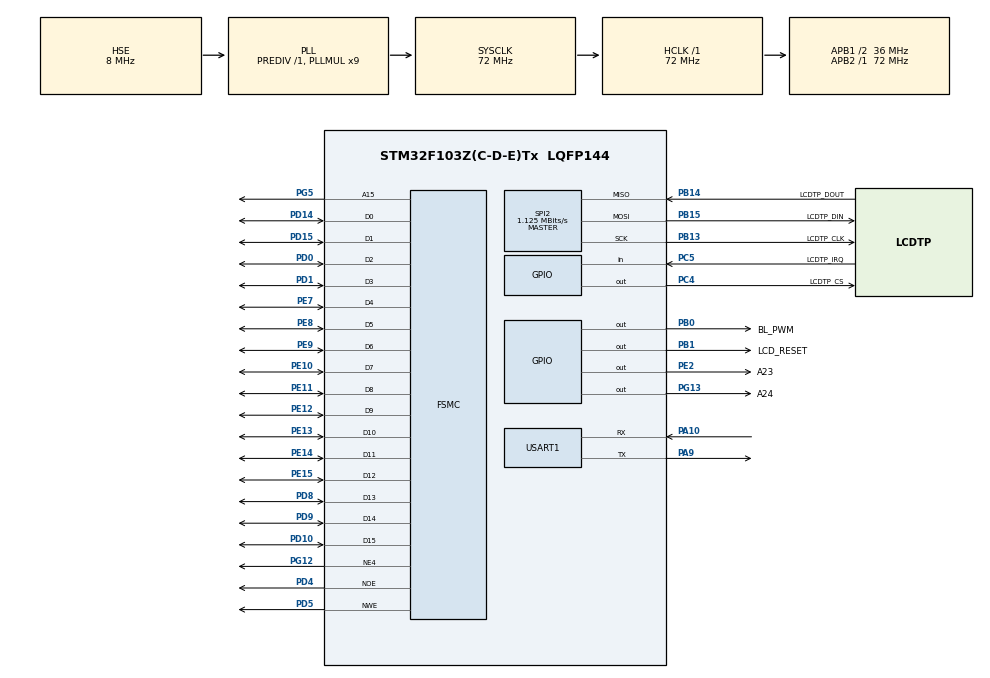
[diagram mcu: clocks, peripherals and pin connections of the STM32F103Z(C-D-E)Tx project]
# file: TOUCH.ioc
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FSMC.AddressSetupTime1=0x02
FSMC.BusTurnAroundDuration1=0x00
FSMC.DataSetupTime1=0x05
Mcu.Family=STM32F1
Mcu.Name=STM32F103Z(C-D-E)Tx
Mcu.Package=LQFP144
NVIC.PriorityGroup=NVIC_PRIORITYGROUP_4
NVIC.SPI2_IRQn=true\:0\:0\:false\:false\:true
OSC_IN.Mode=HSE-External-Oscillator
OSC_IN.Signal=RCC_OSC_IN
OSC_OUT.Mode=HSE-External-Oscillator
OSC_OUT.Signal=RCC_OSC_OUT
PA10.Mode=Asynchronous
PA10.Signal=USART1_RX
PA9.Mode=Asynchronous
PA9.Signal=USART1_TX
PB0.GPIO_Label=BL_PWM
PB0.Signal=GPIO_Output
PB1.GPIO_Label=LCD_RESET
PB1.Signal=GPIO_Output
PB13.GPIO_Label=LCDTP_CLK
PB13.Mode=Full_Duplex_Master
PB13.Signal=SPI2_SCK
PB14.GPIO_Label=LCDTP_DOUT
PB14.Mode=Full_Duplex_Master
PB14.Signal=SPI2_MISO
PB15.GPIO_Label=LCDTP_DIN
PB15.Mode=Full_Duplex_Master
PB15.Signal=SPI2_MOSI
PC4.GPIO_Label=LCDTP_CS
PC4.Signal=GPIO_Output
PC5.GPIO_Label=LCDTP_IRQ
PC5.Signal=GPIO_Input
PD0.Signal=FSMC_D2_DA2
PD1.Signal=FSMC_D3_DA3
PD10.Signal=FSMC_D15_DA15
PD14.Signal=FSMC_D0_DA0
PD15.Signal=FSMC_D1_DA1
PD4.Signal=FSMC_NOE
PD5.Signal=FSMC_NWE
PD8.Signal=FSMC_D13_DA13
PD9.Signal=FSMC_D14_DA14
PE10.Signal=FSMC_D7_DA7
PE11.Signal=FSMC_D8_DA8
PE12.Signal=FSMC_D9_DA9
PE13.Signal=FSMC_D10_DA10
PE14.Signal=FSMC_D11_DA11
PE15.Signal=FSMC_D12_DA12
PE2.GPIO_Label=A23
PE2.PinState=GPIO_PIN_SET
PE2.Signal=GPIO_Output
PE7.Signal=FSMC_D4_DA4
PE8.Signal=FSMC_D5_DA5
PE9.Signal=FSMC_D6_DA6
PG12.Mode=NorPsramChipSelect4_1
PG12.Signal=FSMC_NE4
PG13.GPIO_Label=A24
PG13.PinState=GPIO_PIN_SET
PG13.Signal=GPIO_Output
PG5.Signal=FSMC_A15
ProjectManager.HeapSize=0x200
ProjectManager.StackSize=0x400
ProjectManager.TargetToolchain=MDK-ARM V5
RCC.AHBFreq_Value=72000000
RCC.APB1CLKDivider=RCC_HCLK_DIV2
RCC.APB1Freq_Value=36000000
RCC.APB1TimFreq_Value=72000000
RCC.APB2Freq_Value=72000000
RCC.APB2TimFreq_Value=72000000
RCC.HCLKFreq_Value=72000000
RCC.HSIState=RCC_HSI_ON
RCC.PLLMUL=RCC_PLL_MUL9
RCC.PLLSourceVirtual=RCC_PLLSOURCE_HSE
RCC.SYSCLKFreq_VALUE=72000000
RCC.SYSCLKSource=RCC_SYSCLKSOURCE_PLLCLK
RCC.USBFreq_Value=72000000
SH.FSMC_A15.0=FSMC_A15,A15_1
SH.FSMC_D0_DA0.0=FSMC_D0,16b-d1
SH.FSMC_D10_DA10.0=FSMC_D10,16b-d1
SH.FSMC_D11_DA11.0=FSMC_D11,16b-d1
SH.FSMC_D12_DA12.0=FSMC_D12,16b-d1
SH.FSMC_D13_DA13.0=FSMC_D13,16b-d1
SH.FSMC_D14_DA14.0=FSMC_D14,16b-d1
SH.FSMC_D15_DA15.0=FSMC_D15,16b-d1
SH.FSMC_D1_DA1.0=FSMC_D1,16b-d1
SH.FSMC_D2_DA2.0=FSMC_D2,16b-d1
SH.FSMC_D3_DA3.0=FSMC_D3,16b-d1
SH.FSMC_D4_DA4.0=FSMC_D4,16b-d1
SH.FSMC_D5_DA5.0=FSMC_D5,16b-d1
SH.FSMC_D6_DA6.0=FSMC_D6,16b-d1
SH.FSMC_D7_DA7.0=FSMC_D7,16b-d1
SH.FSMC_D8_DA8.0=FSMC_D8,16b-d1
SH.FSMC_D9_DA9.0=FSMC_D9,16b-d1
SH.FSMC_NOE.0=FSMC_NOE,Lcd1
SH.FSMC_NWE.0=FSMC_NWE,Lcd1
SPI2.BaudRatePrescaler=SPI_BAUDRATEPRESCALER_32
SPI2.CalculateBaudRate=1.125 MBits/s
SPI2.Mode=SPI_MODE_MASTER
VP_SYS_VS_ND.Mode=No_Debug
board=TOUCH

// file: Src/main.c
/**
  ******************************************************************************
  * File Name          : main.c
  * Description        : Main program body
  ******************************************************************************
  *
  * COPYRIGHT(c) 2016 STMicroelectronics
  *
  * Redistribution and use in source and binary forms, with or without modification,
  * are permitted provided that the following conditions are met:
  *   1. Redistributions of source code must retain the above copyright notice,
  *      this list of conditions and the following disclaimer.
  *   2. Redistributions in binary form must reproduce the above copyright notice,
  *      this list of conditions and the following disclaimer in the documentation
  *      and/or other materials provided with the distribution.
  *   3. Neither the name of STMicroelectronics nor the names of its contributors
  *      may be used to endorse or promote products derived from this software
  *      without specific prior written permission.
  *
  * THIS SOFTWARE IS PROVIDED BY THE COPYRIGHT HOLDERS AND CONTRIBUTORS "AS IS"
  * AND ANY EXPRESS OR IMPLIED WARRANTIES, INCLUDING, BUT NOT LIMITED TO, THE
  * IMPLIED WARRANTIES OF MERCHANTABILITY AND FITNESS FOR A PARTICULAR PURPOSE ARE
  * DISCLAIMED. IN NO EVENT SHALL THE COPYRIGHT HOLDER OR CONTRIBUTORS BE LIABLE
  * FOR ANY DIRECT, INDIRECT, INCIDENTAL, SPECIAL, EXEMPLARY, OR CONSEQUENTIAL
  * DAMAGES (INCLUDING, BUT NOT LIMITED TO, PROCUREMENT OF SUBSTITUTE GOODS OR
  * SERVICES; LOSS OF USE, DATA, OR PROFITS; OR BUSINESS INTERRUPTION) HOWEVER
  * CAUSED AND ON ANY THEORY OF LIABILITY, WHETHER IN CONTRACT, STRICT LIABILITY,
  * OR TORT (INCLUDING NEGLIGENCE OR OTHERWISE) ARISING IN ANY WAY OUT OF THE USE
  * OF THIS SOFTWARE, EVEN IF ADVISED OF THE POSSIBILITY OF SUCH DAMAGE.
  *
  ******************************************************************************
  */
#include "main.h"
#include "stm32f1xx_hal.h"
#include "spi.h"
#include "usart.h"
#include "gpio.h"
#include "fsmc.h"

/* USER CODE BEGIN Includes */
#include "stm3210x_lcd.h"
#include "touch_panel.h"
/* USER CODE END Includes */

/* USER CODE BEGIN PV */
/* Private variables ---------------------------------------------------------*/

/* USER CODE END PV */

void SystemClock_Config(void);
void Error_Handler(void);

/* USER CODE BEGIN PFP */
/* Private function prototypes -----------------------------------------------*/

/* USER CODE END PFP */

int main(void)
{

  /* USER CODE BEGIN 1 */
  uint16_t linenum = 0;
  /* USER CODE END 1 */

  /* MCU Configuration----------------------------------------------------------*/

  /* Reset of all peripherals, Initializes the Flash interface and the Systick. */
  HAL_Init();

  /* Configure the system clock */
  SystemClock_Config();

  /* Initialize all configured peripherals */
  MX_GPIO_Init();
  MX_FSMC_Init();
  MX_SPI2_Init();
  MX_USART1_UART_Init();

  /* USER CODE BEGIN 2 */

  HAL_GPIO_WritePin(GPIOB,GPIO_PIN_1,GPIO_PIN_SET);

  /* Initialize the LCD */
  BSP_LCD_Init();

  /* Enable the LCD */
  BSP_LCD_DisplayOn();

  /* Clear the LCD Background layer */

  /* Touch Panel configuration */
//  TP_Init();
  TouchPanel_Calibrate();
  BSP_LCD_Clear(LCD_COLOR_WHITE);
  BSP_LCD_SetFont(&Font12);
  BSP_LCD_SetTextColor(LCD_COLOR_BLACK);
  BSP_LCD_DisplayStringAt(5,5, (uint8_t*)"Touch Panel Paint   ",LEFT_MODE);
  BSP_LCD_DisplayStringAt(5,20, (uint8_t*)"Example             ",LEFT_MODE);

  BSP_LCD_SetTextColor(LCD_COLOR_RED);
  BSP_LCD_FillRect(5, 200, 30, 30);
  BSP_LCD_SetTextColor(LCD_COLOR_BLUE);
  BSP_LCD_FillRect(40, 200, 30, 30);
  BSP_LCD_SetTextColor(LCD_COLOR_GREEN);
  BSP_LCD_FillRect(75, 200, 30, 30);
  BSP_LCD_SetTextColor(LCD_COLOR_BLACK);
  BSP_LCD_FillRect(110, 200, 30, 30);
  BSP_LCD_SetTextColor(LCD_COLOR_MAGENTA);
  BSP_LCD_FillRect(145, 200, 30, 30);
  BSP_LCD_SetTextColor(LCD_COLOR_ORANGE);
  BSP_LCD_FillRect(180, 200, 30, 30);
  BSP_LCD_SetTextColor(LCD_COLOR_CYAN);
  BSP_LCD_FillRect(215, 200, 30, 30);
  BSP_LCD_SetTextColor(LCD_COLOR_YELLOW);
  BSP_LCD_FillRect(250, 200, 30, 30);

  BSP_LCD_SetTextColor(LCD_COLOR_BLACK);

  BSP_LCD_SetFont(&Font24);
  BSP_LCD_DisplayChar(290, 205, 'C');
  BSP_LCD_DrawHLine(  0, 196, 320);

  BSP_LCD_DrawVLine(  1, 198,  35);
  BSP_LCD_DrawVLine( 37, 198,  35);
  BSP_LCD_DrawVLine( 72, 198,  35);
  BSP_LCD_DrawVLine(107, 198,  35);
  BSP_LCD_DrawVLine(142, 198,  35);

  BSP_LCD_DrawVLine(177, 198,  35);
  BSP_LCD_DrawVLine(212, 198,  35);
  BSP_LCD_DrawVLine(247, 198,  35);
  BSP_LCD_DrawVLine(282, 198,  35);
  BSP_LCD_DrawVLine(317, 198,  35);

  BSP_LCD_DrawHLine(  1, 232, 320);
  /* USER CODE END 2 */

  /* Infinite loop */
  while (1)
  {

  /* USER CODE BEGIN 3 */
    getDisplayPoint(&display, Read_Ads7846(), &matrix );
    if(((display.y < 190) && (display.y >= 2)))
    {
      if((display.x >= 318) || (display.x < 2))
      {}
      else
      {
        BSP_LCD_FillCircle(display.x, display.y, 2);
      }
    }
    else if ((display.y <= 230) && (display.y >= 190) && (display.x >= 180) && (display.x <= 210))
    {
      BSP_LCD_SetTextColor(LCD_COLOR_ORANGE);
    }
    else if ((display.y <= 230) && (display.y >= 190) && (display.x >= 215) && (display.x <= 245))
    {
      BSP_LCD_SetTextColor(LCD_COLOR_CYAN);
    }
    else if ((display.y <= 230) && (display.y >= 190) && (display.x >= 250) && (display.x <= 280))
    {
      BSP_LCD_SetTextColor(LCD_COLOR_YELLOW);
    }
    else if ((display.y <= 230) && (display.y >= 190) && (display.x >= 5) && (display.x <= 35))
    {
      BSP_LCD_SetTextColor(LCD_COLOR_RED);
    }
    else if ((display.y <= 230) && (display.y >= 190) && (display.x >= 40) && (display.x <= 70))
    {
      BSP_LCD_SetTextColor(LCD_COLOR_BLUE);
    }
    else if ((display.y <= 230) && (display.y >= 190) && (display.x >= 75) && (display.x <= 105))
    {
      BSP_LCD_SetTextColor(LCD_COLOR_GREEN);
    }
    else if ((display.y <= 230) && (display.y >= 190) && (display.x >= 110) && (display.x <= 140))
    {
      BSP_LCD_SetTextColor(LCD_COLOR_BLACK);
    }
    else if ((display.y <= 230) && (display.y >= 190) && (display.x >= 145) && (display.x <= 175))
    {
      BSP_LCD_SetTextColor(LCD_COLOR_MAGENTA);
    }
    else if ((display.y <= 230) && (display.y >= 190) && (display.x >= 285) && (display.x <= 315))
    {
      BSP_LCD_SetFont(&Font8);
      for(linenum = 0; linenum < 24; linenum++)
      {
        BSP_LCD_ClearStringLine(linenum);
      }
    }
    else
    {
    }
  }
  /* USER CODE END 3 */

}

/** System Clock Configuration
*/
void SystemClock_Config(void)
{

  RCC_OscInitTypeDef RCC_OscInitStruct;
  RCC_ClkInitTypeDef RCC_ClkInitStruct;

    /**Initializes the CPU, AHB and APB busses clocks
    */
  RCC_OscInitStruct.OscillatorType = RCC_OSCILLATORTYPE_HSE;
  RCC_OscInitStruct.HSEState = RCC_HSE_ON;
  RCC_OscInitStruct.HSEPredivValue = RCC_HSE_PREDIV_DIV1;
  RCC_OscInitStruct.HSIState = RCC_HSI_ON;
  RCC_OscInitStruct.PLL.PLLState = RCC_PLL_ON;
  RCC_OscInitStruct.PLL.PLLSource = RCC_PLLSOURCE_HSE;
  RCC_OscInitStruct.PLL.PLLMUL = RCC_PLL_MUL9;
  if (HAL_RCC_OscConfig(&RCC_OscInitStruct) != HAL_OK)
  {
    Error_Handler();
  }

    /**Initializes the CPU, AHB and APB busses clocks
    */
  RCC_ClkInitStruct.ClockType = RCC_CLOCKTYPE_HCLK|RCC_CLOCKTYPE_SYSCLK
                              |RCC_CLOCKTYPE_PCLK1|RCC_CLOCKTYPE_PCLK2;
  RCC_ClkInitStruct.SYSCLKSource = RCC_SYSCLKSOURCE_PLLCLK;
  RCC_ClkInitStruct.AHBCLKDivider = RCC_SYSCLK_DIV1;
  RCC_ClkInitStruct.APB1CLKDivider = RCC_HCLK_DIV2;
  RCC_ClkInitStruct.APB2CLKDivider = RCC_HCLK_DIV1;

  if (HAL_RCC_ClockConfig(&RCC_ClkInitStruct, FLASH_LATENCY_2) != HAL_OK)
  {
    Error_Handler();
  }

    /**Configure the Systick interrupt time
    */
  HAL_SYSTICK_Config(HAL_RCC_GetHCLKFreq()/1000);

    /**Configure the Systick
    */
  HAL_SYSTICK_CLKSourceConfig(SYSTICK_CLKSOURCE_HCLK);

  /* SysTick_IRQn interrupt configuration */
  HAL_NVIC_SetPriority(SysTick_IRQn, 0, 0);
}

void Error_Handler(void)
{
  while(1)
  {
  }
}

/************************ (C) COPYRIGHT STMicroelectronics *****END OF FILE****/
